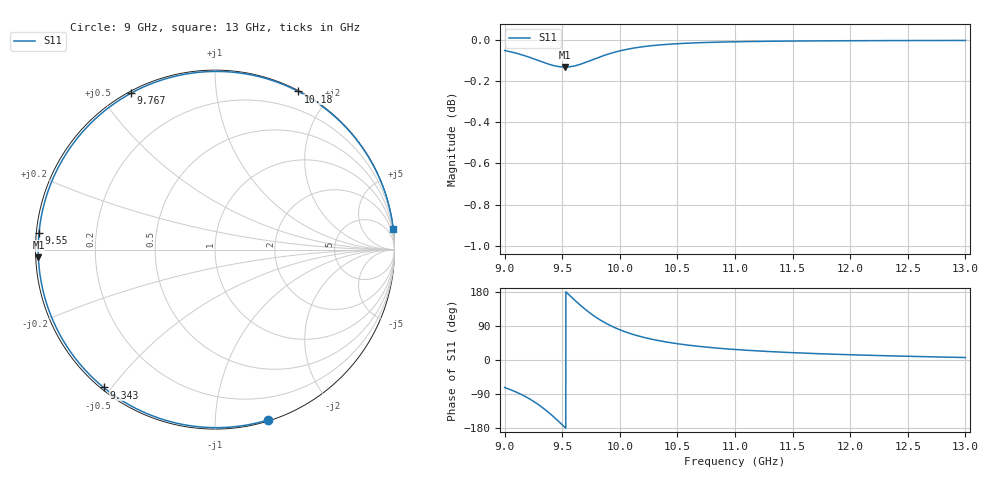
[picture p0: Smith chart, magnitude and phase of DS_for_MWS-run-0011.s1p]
! TOUCHSTONE file generated by CST DESIGN STUDIO
! Date and time: Tue Feb  4 17:19:24 2025
! Project name: C:\Work\MatlabApps\UnitCellOptimizationMatlab\CST\unitcell.cst
! Tree item: Tasks\Sweep1\SPara1\S-Parameters
! Header version: 2024
! Port assignment regex: !\s*Touchstone port\s*([0-9]+)\s*=\s*(CST MWS port|CST DES external port|CST DES block port)\s*(.+)\s* \(\"(.*)\"\)(\s*mode\s*([0-9]+))?.*
! Touchstone port assignment:
! Touchstone port 1 = CST DES external port 1 ("")
# GHz S MA R 50
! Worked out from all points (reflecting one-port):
!   4001 points, 9 GHz to 13 GHz, reference 50 ohm
!   lowest |S11| = -0.1 dB at 9.523 GHz (marker M1), VSWR 131.84, Z = 0.379 - j1.06 ohm
!   phase of S11 starts at -73 deg and turns -281 deg over the sweep
!   S11 on the Smith chart (normalised r, x): 9 GHz: 0.01, -1.36; 9.343 GHz: 0.01, -0.48; 9.55 GHz: 0.01, +0.05; 9.767 GHz: 0.01, +0.60; 10.18 GHz: 0.01, +1.66; 13 GHz: 0, +18
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9  0.9941 -72.6
9.095  0.9927 -83.8
9.201  0.9907 -99.9
9.275  0.989 -113.9
9.343  0.9874 -128.9
9.386  0.9865 -139.5
9.43  0.9857 -151.2
9.5  0.985 -170.9
9.523  0.9849 -177.6
9.55  0.985 174.6
9.604  0.9855 159.2
9.665  0.9866 142.6
9.716  0.9878 129.8
9.767  0.9891 118.3
9.816  0.9903 108.3
9.87  0.9915 98.5
9.93  0.9927 89.1
10  0.9939 79.8
10.085  0.9951 70.4
10.176  0.996 62.2
10.324  0.9971 51.9
10.5  0.9979 42.9
10.722  0.9985 34.9
11  0.999 27.7
11.5  0.9994 19.4
12  0.9996 13.8
12.5  0.9997 9.8
13  0.9997 6.5
